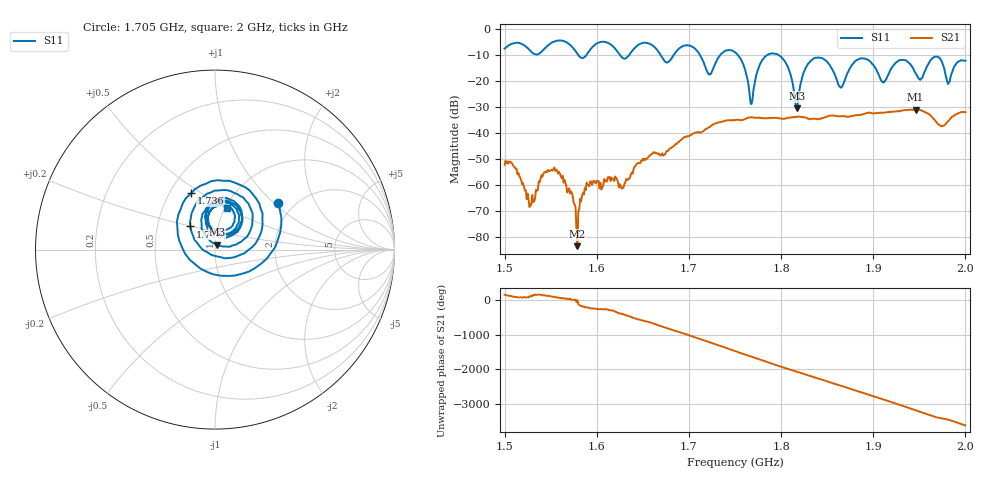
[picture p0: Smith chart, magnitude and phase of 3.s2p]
! NanoVNA-App by SYSJOINT et al v1.1.209 (+OD18)
! Date: 2026-01-21 14:49:28
! Start: 1,5GHz Stop: 2GHz Points: 501
! S-Parameter data: F S11 S21 S12 S22
# Hz S RI R 50
!  Frequency  S11_Real  S11_Imag  S21_Real  S21_Imag  S12_Real  S12_Imag  S22_Real  S22_Imag
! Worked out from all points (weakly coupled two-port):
!   501 points, 1.5 GHz to 2 GHz, reference 50 ohm
!   highest |S21| = -31.00 dB at 1.946 GHz (marker M1); lowest = -83.4 dB at 1.579 GHz (marker M2)
!   lowest |S11| = -30.6 dB at 1.817 GHz (marker M3), VSWR 1.06, Z = 51 + j2.82 ohm
!   |S11| at or under -10 dB: 1.712 GHz to 1.734 GHz (22.19 MHz wide, 1.29 % of centre); 1.753 GHz to 1.785 GHz (32.45 MHz wide, 1.83 % of centre); 1.797 GHz to end of sweep (the widest 3 of 6)
!   S12 and S22 are empty: the file has one direction only
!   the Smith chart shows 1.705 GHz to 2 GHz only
!   S11 on the Smith chart (normalised r, x): 1.705 GHz: 1.66, +1.07; 1.736 GHz: 0.64, +0.46; 1.776 GHz: 0.74, +0.20; 2 GHz: 1.02, +0.51
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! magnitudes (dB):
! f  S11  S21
! 1.5 GHz  -7.6  -52.2
! 1.529 GHz  -8.8  -67.5
! 1.555 GHz  -4.8  -54.5
! 1.579 GHz  -9.6  -83.4
! 1.584 GHz  -11.2  -64.0
! 1.667 GHz  -8.8  -47.8
! 1.705 GHz  -7.1  -40.1
! 1.722 GHz  -17.6  -37.7
! 1.736 GHz  -9.3  -35.6
! 1.75 GHz  -9.0  -35.1
! 1.768 GHz  -28.9  -33.9
! 1.776 GHz  -14.5  -34.0
! 1.8 GHz  -10.8  -34.4
! 1.817 GHz  -30.6  -33.8
! 1.834 GHz  -11.8  -34.5
! 1.865 GHz  -22.6  -33.5
! 1.886 GHz  -11.4  -33.0
! 1.917 GHz  -17.2  -31.9
! 1.946 GHz  -17.0  -31.0
! 1.969 GHz  -10.7  -35.9
! 1.982 GHz  -20.7  -35.2
! 2 GHz  -12.3  -32.0
